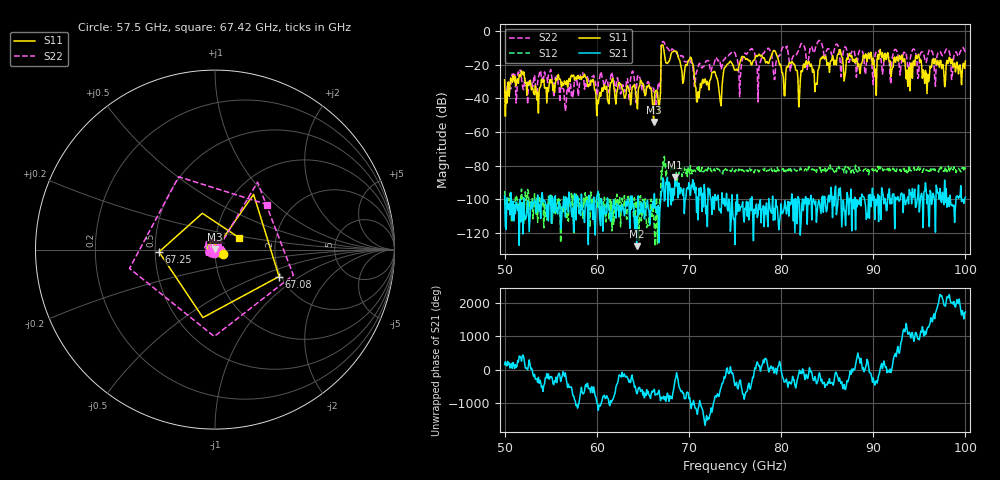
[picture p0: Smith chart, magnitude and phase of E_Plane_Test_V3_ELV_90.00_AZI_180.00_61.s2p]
! 11/26/2026 4:40:21 PM
! C:\ANRITSUVNA\TEMP\TEMP.S2P
! CHANNEL.1
! TR.MEASUREMENT
! RAW.DATA
# HZ S RI R 50.0
! FREQ.HZ  S11RE  S11IM  S21RE  S21IM  S12RE  S12IM  S22RE  S22IM
!; PortSelection: Port_12
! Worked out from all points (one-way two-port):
!   601 points, 50 GHz to 100 GHz, reference 50 ohm
!   highest |S21| = -86.92 dB at 68.5 GHz (marker M1); lowest = -128.0 dB at 64.33 GHz (marker M2)
!   lowest |S11| = -54.1 dB at 66.17 GHz (marker M3), VSWR 1.00, Z = 50.1 + j0.144 ohm
!   |S11| at or under -10 dB: start of sweep to 67 GHz; 67.24 GHz to end of sweep
!   |S22| runs from -47.6 to -5.6 dB; largest |S21 - S12| = 0.00019
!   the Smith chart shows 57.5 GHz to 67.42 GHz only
!   S11 on the Smith chart (normalised r, x): 57.5 GHz: 1.09, -0.05; 67.08 GHz: 1.95, -0.69; 67.25 GHz: 0.52, -0.01; 67.42 GHz: 1.29, +0.18
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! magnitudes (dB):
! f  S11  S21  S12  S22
! 50 GHz  -29.0  -97.8  -95.2  -35.9
! 51.67 GHz  -26.3  -100.1  -100.1  -23.3
! 53.42 GHz  -34.8  -108.1  -108.8  -35.6
! 57.5 GHz  -26.2  -119.4  -120.9  -34.7
! 58.42 GHz  -27.1  -104.0  -107.8  -24.6
! 60.17 GHz  -43.2  -95.3  -105.7  -30.4
! 64.33 GHz  -41.3  -128.0  -102.3  -31.3
! 66.17 GHz  -54.1  -104.8  -109.0  -34.0
! 66.67 GHz  -41.4  -103.8  -107.3  -31.6
! 67.08 GHz  -8.2  -94.6  -85.5  -6.8
! 67.25 GHz  -10.1  -88.7  -81.1  -6.2
! 67.42 GHz  -16.6  -100.2  -78.8  -8.3
! 68.5 GHz  -12.0  -86.9  -81.7  -11.4
! 70.25 GHz  -16.0  -91.7  -81.6  -18.8
! 70.92 GHz  -42.1  -98.7  -81.0  -23.1
! 75 GHz  -23.3  -127.0  -83.8  -13.0
! 79.25 GHz  -11.5  -105.5  -82.1  -28.8
! 80.25 GHz  -28.0  -107.1  -81.9  -9.3
! 83.42 GHz  -24.6  -101.6  -82.0  -10.8
! 91.67 GHz  -16.8  -99.1  -83.6  -15.2
! 95.83 GHz  -37.1  -102.7  -82.7  -16.6
! 100 GHz  -17.8  -98.9  -82.2  -12.6
